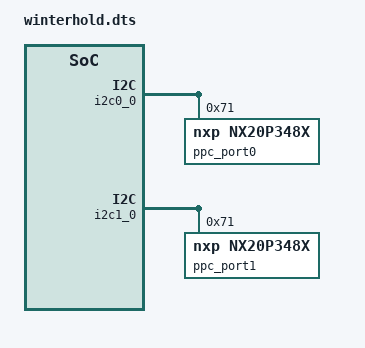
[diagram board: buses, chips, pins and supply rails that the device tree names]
/* Copyright 2021 The ChromiumOS Authors
 * Use of this source code is governed by a BSD-style license that can be
 * found in the LICENSE file.
 */

/ {
	named-gpios {
		/* Winterhold-specific GPIO customizations */
	};

	named-temp-sensors {
		soc-pct2075 {
			compatible = "cros-ec,temp-sensor-pct2075",
				     "cros-ec,temp-sensor";
			enum-name = "TEMP_SENSOR_SOC";
			pct2075-name = "PCT2075_SOC";
			port = <&i2c_sensor>;
			i2c-addr-flags = "PCT2075_I2C_ADDR_FLAGS0";
			temp_host_high = <100>;
			temp_host_halt = <105>;
			temp_host_release_high = <80>;
			temp_host_release_halt = <80>;
			temp_fan_off = <0>;
			temp_fan_max = <70>;
			power-good-pin = <&gpio_pg_pwr_s5>;
		};
		amb-pct2075 {
			compatible = "cros-ec,temp-sensor-pct2075",
				     "cros-ec,temp-sensor";
			enum-name = "TEMP_SENSOR_AMB";
			pct2075-name = "PCT2075_AMB";
			port = <&i2c_sensor>;
			i2c-addr-flags = "PCT2075_I2C_ADDR_FLAGS7";
			power-good-pin = <&gpio_pg_pwr_s5>;
		};
	};

	/*
	 * Note this is expected to vary per-board, so we keep it in the board
	 * dts files.
	 */
	Winterhold-fw-config {
		compatible = "cros-ec,cbi-fw-config";

		/*
		 * FW_CONFIG field to enable KB back light or not.
		 */
		kb-bl {
			enum-name = "FW_KB_BL";
			start = <1>;
			size = <1>;

			no-kb-bl {
				compatible = "cros-ec,cbi-fw-config-value";
				enum-name = "FW_KB_BL_NOT_PRESENT";
				value = <0>;
			};
			kb-bl-present {
				compatible = "cros-ec,cbi-fw-config-value";
				enum-name = "FW_KB_BL_PRESENT";
				value = <1>;
			};
		};
	};

	/* Rotation matrices for motion sensors. */
	motionsense-rotation-ref {
		compatible = "cros-ec,motionsense-rotation-ref";
		lid_rot_ref: lid-rotation-ref {
			mat33 = <0 (-1) 0
				 1 0 0
				 0 0 1>;
		};

		base_rot_ref: base-rotation-ref {
			mat33 = <0 1 0
				 (-1) 0 0
				 0 0 1>;
		};
	};
};

&i2c0_0 {
	ppc_port0: nx20p348x@71 {
		compatible = "nxp,nx20p348x";
		status = "okay";
		reg = <0x71>;
	};
};

&i2c1_0 {
	ppc_port1: nx20p348x@71 {
		compatible = "nxp,nx20p348x";
		status = "okay";
		reg = <0x71>;
	};
};

&usbc_port0 {
	ppc = <&ppc_port0>;
};

&usbc_port1 {
	ppc = <&ppc_port1>;
};
